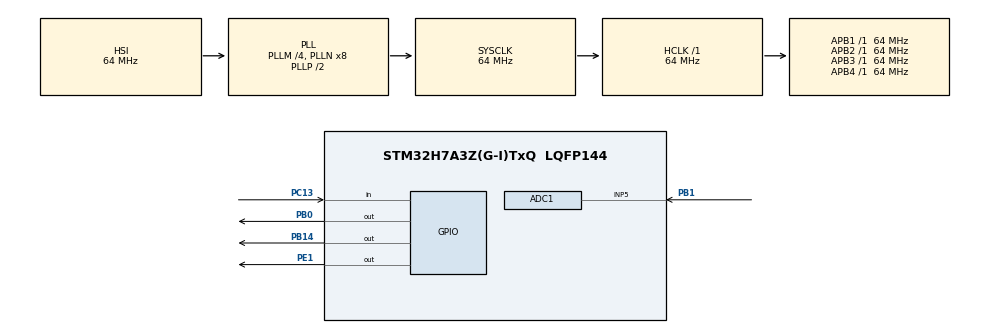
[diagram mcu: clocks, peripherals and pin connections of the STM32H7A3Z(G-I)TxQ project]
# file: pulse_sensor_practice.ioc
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ADC1.Channel-1\#ChannelRegularConversion=ADC_CHANNEL_5
ADC1.ClockPrescaler=ADC_CLOCK_ASYNC_DIV16
ADC1.NbrOfConversionFlag=1
ADC1.OffsetNumber-1\#ChannelRegularConversion=ADC_OFFSET_NONE
ADC1.OffsetSignedSaturation-1\#ChannelRegularConversion=DISABLE
ADC1.Rank-1\#ChannelRegularConversion=1
ADC1.Resolution=ADC_RESOLUTION_10B
ADC1.SamplingTime-1\#ChannelRegularConversion=ADC_SAMPLETIME_1CYCLE_5
ADC1.master=1
CORTEX_M7.default_mode_Activation=1
FREERTOS.Queues01=SensorDataQueue,10,uint16_t,0,Dynamic,NULL,NULL
FREERTOS.Tasks01=defaultTask,24,128,StartDefaultTask,Default,NULL,Dynamic,NULL,NULL;sensorTask,8,128,sensorTaskHandler,Default,NULL,Dynamic,NULL,NULL
FREERTOS.configUSE_NEWLIB_REENTRANT=1
Mcu.Family=STM32H7
Mcu.Name=STM32H7A3Z(G-I)TxQ
Mcu.Package=LQFP144
NUCLEO-H7A3ZI-Q.BUTTON=1
NUCLEO-H7A3ZI-Q.LD1=true
NUCLEO-H7A3ZI-Q.LD2=true
NUCLEO-H7A3ZI-Q.LD3=true
NUCLEO-H7A3ZI-Q.VCP=true
NVIC.EXTI15_10_IRQn=true\:5\:0\:false\:false\:true\:true\:false\:true\:true
NVIC.PriorityGroup=NVIC_PRIORITYGROUP_4
PB0.Signal=GPIO_Output
PB1.Signal=ADCx_INP5
PB14.Signal=GPIO_Output
PC13.Signal=GPIO_Input
PC14-OSC32_IN.GPIO_Label=OSC32_IN
PC14-OSC32_IN.Signal=RCC_OSC32_IN
PC15-OSC32_OUT.GPIO_Label=OSC32_OUT
PC15-OSC32_OUT.Signal=RCC_OSC32_OUT
PD8.Signal=USART3_TX
PD9.Signal=USART3_RX
PE1.Signal=GPIO_Output
PH0-OSC_IN.GPIO_Label=PH0-MCU
PH0-OSC_IN.Signal=RCC_OSC_IN
PH1-OSC_OUT.GPIO_Label=PH1-MCU
PH1-OSC_OUT.Signal=RCC_OSC_OUT
ProjectManager.HeapSize=0x200
ProjectManager.StackSize=0x400
ProjectManager.TargetToolchain=STM32CubeIDE
RCC.ADCFreq_Value=42666666.666666664
RCC.APB1Freq_Value=64000000
RCC.APB2Freq_Value=64000000
RCC.APB3Freq_Value=64000000
RCC.APB4Freq_Value=64000000
RCC.CortexFreq_Value=64000000
RCC.DIVM1=4
RCC.DIVM2=4
RCC.DIVM3=1
RCC.DIVN1=8
RCC.DIVN2=8
RCC.DIVN3=24
RCC.DIVP2=3
RCC.DIVQ1=4
RCC.HCLKFreq_Value=64000000
RCC.HSE_VALUE=8000000
RCC.PLL2FRACN=0
RCC.PLLFRACN=0
RCC.PWR_Regulator_Voltage_Scale=PWR_REGULATOR_VOLTAGE_SCALE0
RCC.SYSCLKFreq_VALUE=64000000
RCC.SYSCLKSource=RCC_SYSCLKSOURCE_PLLCLK
RCC.SupplySource=PWR_DIRECT_SMPS_SUPPLY
RCC.USBCLockSelection=RCC_USBCLKSOURCE_HSI48
RCC.USBFreq_Value=48000000
SH.ADCx_INP5.0=ADC1_INP5,IN5-Single-Ended
VP_FREERTOS_VS_CMSIS_V2.Mode=CMSIS_V2
VP_MEMORYMAP_VS_MEMORYMAP.Mode=CurAppReg
VP_NUCLEO-H7A3ZI-Q_VS_BSP_COMMON.Mode=COMMON
board=NUCLEO-H7A3ZI-Q

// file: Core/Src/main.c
/* USER CODE BEGIN Header */
/**
  ******************************************************************************
  * @file           : main.c
  * @brief          : Main program body
  ******************************************************************************
  * @attention
  *
  * Copyright (c) 2026 STMicroelectronics.
  * All rights reserved.
  *
  * This software is licensed under terms that can be found in the LICENSE file
  * in the root directory of this software component.
  * If no LICENSE file comes with this software, it is provided AS-IS.
  *
  ******************************************************************************
  */
/* USER CODE END Header */
#include "main.h"
#include "cmsis_os.h"

COM_InitTypeDef BspCOMInit;
ADC_HandleTypeDef hadc1;

/* Definitions for defaultTask */
osThreadId_t defaultTaskHandle;
const osThreadAttr_t defaultTask_attributes = {
  .name = "defaultTask",
  .stack_size = 128 * 4,
  .priority = (osPriority_t) osPriorityNormal,
};
/* Definitions for sensorTask */
osThreadId_t sensorTaskHandle;
const osThreadAttr_t sensorTask_attributes = {
  .name = "sensorTask",
  .stack_size = 128 * 4,
  .priority = (osPriority_t) osPriorityLow,
};
/* Definitions for SensorDataQueue */
osMessageQueueId_t SensorDataQueueHandle;
const osMessageQueueAttr_t SensorDataQueue_attributes = {
  .name = "SensorDataQueue"
};

/* USER CODE BEGIN PV */
#define THRESHOLD 50

double CurrentTime;
double LastTime;
double TimeDifference;
int BPM;
int BeatDetected;
uint8_t HeartBeatValue;

/* USER CODE END PV */

void SystemClock_Config(void);
static void MPU_Config(void);
static void MX_GPIO_Init(void);
static void MX_ADC1_Init(void);
void StartDefaultTask(void *argument);
void sensorTaskHandler(void *argument);

int main(void)
{

  /* MPU Configuration--------------------------------------------------------*/
  MPU_Config();

  /* MCU Configuration--------------------------------------------------------*/

  /* Reset of all peripherals, Initializes the Flash interface and the Systick. */
  HAL_Init();

  /* Configure the system clock */
  SystemClock_Config();

  /* Initialize all configured peripherals */
  MX_GPIO_Init();
  MX_ADC1_Init();

  /* Init scheduler */
  osKernelInitialize();

  /* Create the queue(s) */
  /* creation of SensorDataQueue */
  SensorDataQueueHandle = osMessageQueueNew (10, sizeof(uint16_t), &SensorDataQueue_attributes);

  /* Create the thread(s) */
  /* creation of defaultTask */
  defaultTaskHandle = osThreadNew(StartDefaultTask, NULL, &defaultTask_attributes);

  /* creation of sensorTask */
  sensorTaskHandle = osThreadNew(sensorTaskHandler, NULL, &sensorTask_attributes);

  /* Initialize leds */
  BSP_LED_Init(LED_GREEN);
  BSP_LED_Init(LED_YELLOW);
  BSP_LED_Init(LED_RED);

  /* Initialize USER push-button, will be used to trigger an interrupt each time it's pressed.*/
  BSP_PB_Init(BUTTON_USER, BUTTON_MODE_EXTI);

  /* Initialize COM1 port (115200, 8 bits (7-bit data + 1 stop bit), no parity */
  BspCOMInit.BaudRate   = 115200;
  BspCOMInit.WordLength = COM_WORDLENGTH_8B;
  BspCOMInit.StopBits   = COM_STOPBITS_1;
  BspCOMInit.Parity     = COM_PARITY_NONE;
  BspCOMInit.HwFlowCtl  = COM_HWCONTROL_NONE;
  if (BSP_COM_Init(COM1, &BspCOMInit) != BSP_ERROR_NONE)
  {
    Error_Handler();
  }

  /* Start scheduler */
  osKernelStart();

  /* We should never get here as control is now taken by the scheduler */

  /* Infinite loop */
  while (1)
  {

  }
}

void SystemClock_Config(void)
{
  RCC_OscInitTypeDef RCC_OscInitStruct = {0};
  RCC_ClkInitTypeDef RCC_ClkInitStruct = {0};

  /*AXI clock gating */
  RCC->CKGAENR = 0xE003FFFF;

  /** Supply configuration update enable
  */
  HAL_PWREx_ConfigSupply(PWR_DIRECT_SMPS_SUPPLY);

  /** Configure the main internal regulator output voltage
  */
  __HAL_PWR_VOLTAGESCALING_CONFIG(PWR_REGULATOR_VOLTAGE_SCALE0);

  while(!__HAL_PWR_GET_FLAG(PWR_FLAG_VOSRDY)) {}

  /** Initializes the RCC Oscillators according to the specified parameters
  * in the RCC_OscInitTypeDef structure.
  */
  RCC_OscInitStruct.OscillatorType = RCC_OSCILLATORTYPE_HSI;
  RCC_OscInitStruct.HSIState = RCC_HSI_DIV1;
  RCC_OscInitStruct.HSICalibrationValue = 64;
  RCC_OscInitStruct.PLL.PLLState = RCC_PLL_ON;
  RCC_OscInitStruct.PLL.PLLSource = RCC_PLLSOURCE_HSI;
  RCC_OscInitStruct.PLL.PLLM = 4;
  RCC_OscInitStruct.PLL.PLLN = 8;
  RCC_OscInitStruct.PLL.PLLP = 2;
  RCC_OscInitStruct.PLL.PLLQ = 4;
  RCC_OscInitStruct.PLL.PLLR = 2;
  RCC_OscInitStruct.PLL.PLLRGE = RCC_PLL1VCIRANGE_3;
  RCC_OscInitStruct.PLL.PLLVCOSEL = RCC_PLL1VCOWIDE;
  RCC_OscInitStruct.PLL.PLLFRACN = 0;
  if (HAL_RCC_OscConfig(&RCC_OscInitStruct) != HAL_OK)
  {
    Error_Handler();
  }

  /** Initializes the CPU, AHB and APB buses clocks
  */
  RCC_ClkInitStruct.ClockType = RCC_CLOCKTYPE_HCLK|RCC_CLOCKTYPE_SYSCLK
                              |RCC_CLOCKTYPE_PCLK1|RCC_CLOCKTYPE_PCLK2
                              |RCC_CLOCKTYPE_D3PCLK1|RCC_CLOCKTYPE_D1PCLK1;
  RCC_ClkInitStruct.SYSCLKSource = RCC_SYSCLKSOURCE_PLLCLK;
  RCC_ClkInitStruct.SYSCLKDivider = RCC_SYSCLK_DIV1;
  RCC_ClkInitStruct.AHBCLKDivider = RCC_HCLK_DIV1;
  RCC_ClkInitStruct.APB3CLKDivider = RCC_APB3_DIV1;
  RCC_ClkInitStruct.APB1CLKDivider = RCC_APB1_DIV1;
  RCC_ClkInitStruct.APB2CLKDivider = RCC_APB2_DIV1;
  RCC_ClkInitStruct.APB4CLKDivider = RCC_APB4_DIV1;

  if (HAL_RCC_ClockConfig(&RCC_ClkInitStruct, FLASH_LATENCY_1) != HAL_OK)
  {
    Error_Handler();
  }
}

static void MX_ADC1_Init(void)
{

  ADC_MultiModeTypeDef multimode = {0};
  ADC_ChannelConfTypeDef sConfig = {0};

  /** Common config
  */
  hadc1.Instance = ADC1;
  hadc1.Init.ClockPrescaler = ADC_CLOCK_ASYNC_DIV16;
  hadc1.Init.Resolution = ADC_RESOLUTION_10B;
  hadc1.Init.ScanConvMode = ADC_SCAN_DISABLE;
  hadc1.Init.EOCSelection = ADC_EOC_SINGLE_CONV;
  hadc1.Init.LowPowerAutoWait = DISABLE;
  hadc1.Init.ContinuousConvMode = DISABLE;
  hadc1.Init.NbrOfConversion = 1;
  hadc1.Init.DiscontinuousConvMode = DISABLE;
  hadc1.Init.ExternalTrigConv = ADC_SOFTWARE_START;
  hadc1.Init.ExternalTrigConvEdge = ADC_EXTERNALTRIGCONVEDGE_NONE;
  hadc1.Init.ConversionDataManagement = ADC_CONVERSIONDATA_DR;
  hadc1.Init.Overrun = ADC_OVR_DATA_PRESERVED;
  hadc1.Init.LeftBitShift = ADC_LEFTBITSHIFT_NONE;
  hadc1.Init.OversamplingMode = DISABLE;
  if (HAL_ADC_Init(&hadc1) != HAL_OK)
  {
    Error_Handler();
  }

  /** Configure the ADC multi-mode
  */
  multimode.Mode = ADC_MODE_INDEPENDENT;
  if (HAL_ADCEx_MultiModeConfigChannel(&hadc1, &multimode) != HAL_OK)
  {
    Error_Handler();
  }

  /** Configure Regular Channel
  */
  sConfig.Channel = ADC_CHANNEL_5;
  sConfig.Rank = ADC_REGULAR_RANK_1;
  sConfig.SamplingTime = ADC_SAMPLETIME_1CYCLE_5;
  sConfig.SingleDiff = ADC_SINGLE_ENDED;
  sConfig.OffsetNumber = ADC_OFFSET_NONE;
  sConfig.Offset = 0;
  sConfig.OffsetSignedSaturation = DISABLE;
  if (HAL_ADC_ConfigChannel(&hadc1, &sConfig) != HAL_OK)
  {
    Error_Handler();
  }

}

static void MX_GPIO_Init(void)
{

  /* GPIO Ports Clock Enable */
  __HAL_RCC_GPIOC_CLK_ENABLE();
  __HAL_RCC_GPIOH_CLK_ENABLE();
  __HAL_RCC_GPIOB_CLK_ENABLE();

}

void StartDefaultTask(void *argument)
{
  for(;;)
  {
    osDelay(1);
  }
}

void sensorTaskHandler(void *argument)
{
  /* USER CODE BEGIN sensorTaskHandler */
	/* Infinite loop */
	for (;;)
	{
		HAL_ADC_Start (&hadc1);
		HAL_ADC_PollForConversion (&hadc1, 100);
		HeartBeatValue = HAL_ADC_GetValue (&hadc1);
		HAL_ADC_Stop (&hadc1);

		if ((HeartBeatValue > THRESHOLD) && (BeatDetected == 0))
		{
		    BeatDetected = 1;

		    LastTime = CurrentTime;
		    CurrentTime = HAL_GetTick();

		    TimeDifference = CurrentTime - LastTime;

		    if (TimeDifference > 0)
		    {
		        BPM = 60000 / TimeDifference;
		    }
		}

		else if (HeartBeatValue < THRESHOLD)
		{
		    BeatDetected = 0;
		}

		printf("Heart Beat Value: %lu\r\n", HeartBeatValue);
		printf("BPM: %i\r\n", BPM);

		osDelay(20);
	}

  /* USER CODE END sensorTaskHandler */
}

 /* MPU Configuration */

void MPU_Config(void)
{
  MPU_Region_InitTypeDef MPU_InitStruct = {0};

  /* Disables the MPU */
  HAL_MPU_Disable();

  /** Initializes and configures the Region and the memory to be protected
  */
  MPU_InitStruct.Enable = MPU_REGION_ENABLE;
  MPU_InitStruct.Number = MPU_REGION_NUMBER0;
  MPU_InitStruct.BaseAddress = 0x0;
  MPU_InitStruct.Size = MPU_REGION_SIZE_4GB;
  MPU_InitStruct.SubRegionDisable = 0x87;
  MPU_InitStruct.TypeExtField = MPU_TEX_LEVEL0;
  MPU_InitStruct.AccessPermission = MPU_REGION_NO_ACCESS;
  MPU_InitStruct.DisableExec = MPU_INSTRUCTION_ACCESS_DISABLE;
  MPU_InitStruct.IsShareable = MPU_ACCESS_SHAREABLE;
  MPU_InitStruct.IsCacheable = MPU_ACCESS_NOT_CACHEABLE;
  MPU_InitStruct.IsBufferable = MPU_ACCESS_NOT_BUFFERABLE;

  HAL_MPU_ConfigRegion(&MPU_InitStruct);
  /* Enables the MPU */
  HAL_MPU_Enable(MPU_PRIVILEGED_DEFAULT);

}

void Error_Handler(void)
{
  __disable_irq();
  while (1)
  {
  }
}
